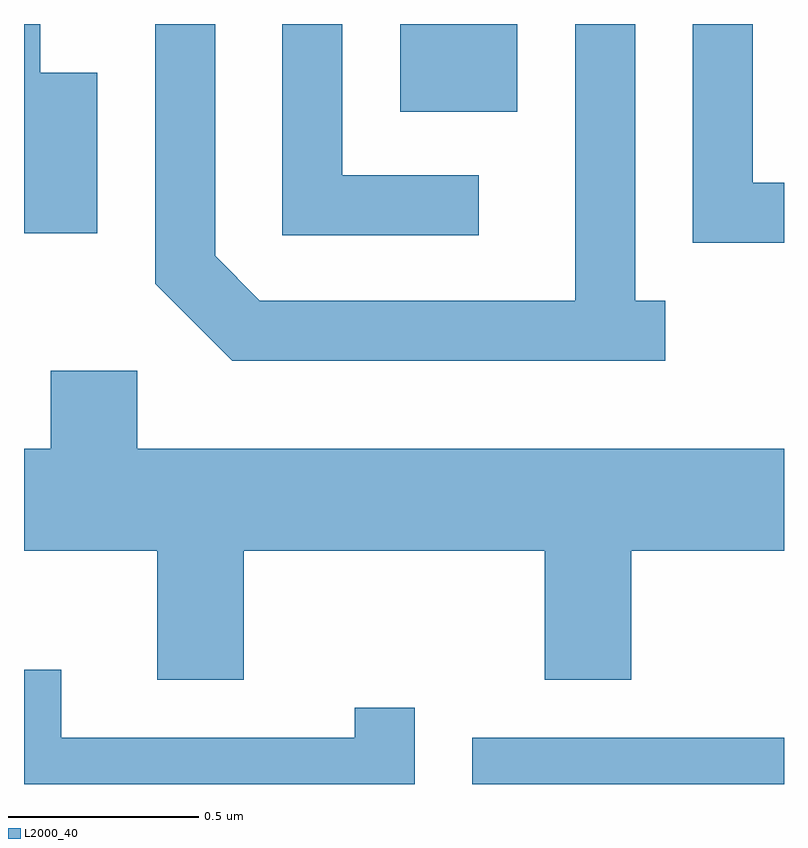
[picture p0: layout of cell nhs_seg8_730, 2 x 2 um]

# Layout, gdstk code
import gdstk
lib = gdstk.Library(unit=1e-6, precision=1e-09)
def R(c, l, rs):  # rectangles x0, y0, x1, y1
    for r in rs: c.add(gdstk.rectangle(r[:2], r[2:], *l))
def P(c, l, *ps):  # polygons
    for p in ps: c.add(gdstk.Polygon(p, *l))
L2000_40 = (2000, 40)

nhs_seg8_730 = lib.new_cell('nhs_seg8_730')
R(nhs_seg8_730, L2000_40, [(191.791,1851.342,192.611,1851.464), (191.601,1853.111,191.909,1853.342)])
P(nhs_seg8_730, L2000_40, [(192.611,1852.924),(192.529,1852.924),(192.529,1853.342),(192.371,1853.342),(192.371,1852.766),(192.611,1852.766)],
  [(192.298,1852.614),(192.219,1852.614),(192.219,1853.342),(192.061,1853.342),(192.061,1852.614),(191.232,1852.614),(191.114,1852.732),(191.114,1853.342),(190.956,1853.342),(190.956,1852.659),(191.159,1852.456),(192.298,1852.456)],
  [(191.808,1852.944),(191.449,1852.944),(191.449,1853.342),(191.291,1853.342),(191.291,1852.786),(191.808,1852.786)],
  [(190.804,1853.214),(190.654,1853.214),(190.654,1853.342),(190.611,1853.342),(190.611,1852.791),(190.804,1852.791)],
  [(191.189,1851.956),(191.981,1851.956),(191.981,1851.616),(192.209,1851.616),(192.209,1851.956),(192.611,1851.956),(192.611,1852.224),(190.909,1852.224),(190.909,1852.429),(190.681,1852.429),(190.681,1852.224),(190.611,1852.224),(190.611,1851.956),(190.961,1851.956),(190.961,1851.616),(191.189,1851.616)],
  [(191.639,1851.543),(191.481,1851.543),(191.481,1851.464),(190.709,1851.464),(190.709,1851.643),(190.611,1851.643),(190.611,1851.342),(191.639,1851.342)])

lib.write_gds('nhs_seg8_730.gds')
